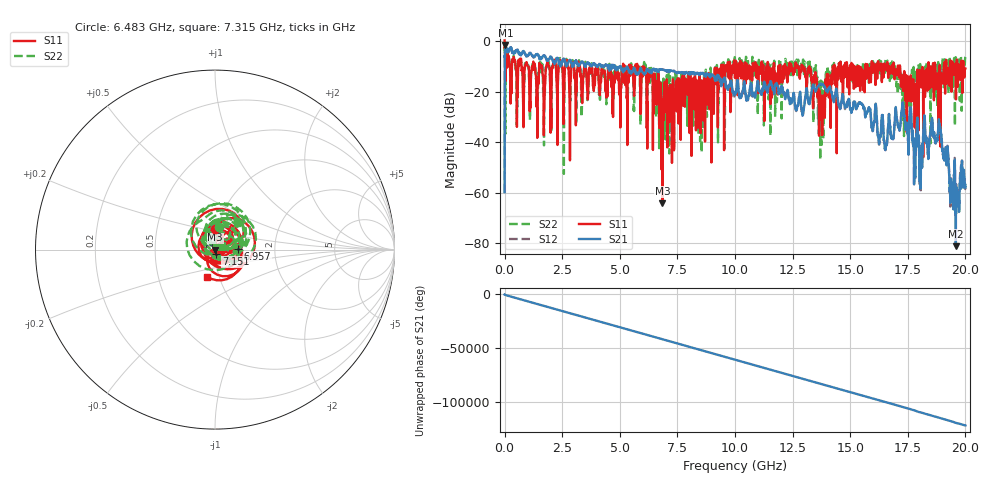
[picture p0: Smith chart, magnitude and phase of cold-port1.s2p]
! MS46122B
! 2250307/22442219
! 2/18/2026 9:14:54 AM
! C:\USERS\SPARKY\DOCUMENTS\VNA_DATA\FEB18_2026\COLD-PORT1.S2P
! CHANNEL.1
! TR.MEASUREMENT
! RAW.DATA
# GHZ S RI R 50.0
! FREQ.GHZ  S11RE  S11IM  S21RE  S21IM  S12RE  S12IM  S22RE  S22IM
!; PortSelection: Port_12
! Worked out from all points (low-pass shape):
!   10001 points, 1 MHz to 20 GHz, reference 50 ohm
!   highest |S21| = -1.33 dB at 33 MHz (marker M1); lowest = -81.2 dB at 19.59 GHz (marker M2)
!   |S21| within 3 dB of the highest: 131.2 MHz to 325.7 MHz (194.5 MHz wide, 85.2 % of centre); 464.3 MHz to 590.2 MHz (125.9 MHz wide, 23.9 % of centre) (the widest 2 of 7)
!   lowest |S11| = -64.2 dB at 6.849 GHz (marker M3), VSWR 1.00, Z = 50.1 + j0.0019 ohm
!   |S11| at or under -10 dB: 6.03 GHz to 9.391 GHz (3.361 GHz wide, 43.6 % of centre); 13.23 GHz to 14.25 GHz (1.014 GHz wide, 7.38 % of centre); 17.17 GHz to 18.38 GHz (1.213 GHz wide, 6.83 % of centre) (the widest 3 of 110)
!   |S22| runs from -52.5 to -0.2 dB; largest |S21 - S12| = 0.063
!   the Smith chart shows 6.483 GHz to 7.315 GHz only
!   S11 on the Smith chart (normalised r, x): 6.483 GHz: 0.97, +0.22; 6.957 GHz: 1.29, +0.02; 7.151 GHz: 1.01, -0.05; 7.315 GHz: 0.88, -0.27
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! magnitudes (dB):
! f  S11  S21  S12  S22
! 1 MHz  0.4  -59.8  -59.9  -0.2
! 33 MHz  -15.8  -1.3  -1.7  -17.7
! 127 MHz  -4.8  -4.4  -4.4  -4.8
! 3.335 GHz  -19.4  -8.1  -8.0  -29.4
! 5.765 GHz  -9.7  -13.0  -13.0  -9.1
! 6.483 GHz  -19.0  -10.8  -10.8  -17.8
! 6.669 GHz  -12.8  -12.1  -12.2  -11.9
! 6.849 GHz  -64.2  -11.1  -11.1  -19.2
! 6.957 GHz  -17.9  -11.6  -11.6  -18.7
! 7.151 GHz  -31.9  -11.5  -11.5  -44.5
! 7.315 GHz  -16.1  -11.8  -11.7  -14.3
! 8.511 GHz  -36.1  -12.6  -12.6  -22.2
! 10 GHz  -14.4  -21.0  -20.1  -6.9
! 13.33 GHz  -15.1  -19.0  -19.2  -18.3
! 13.8 GHz  -29.8  -17.2  -17.0  -16.8
! 14.54 GHz  -12.8  -26.1  -25.7  -11.9
! 16.67 GHz  -11.2  -30.6  -30.5  -11.1
! 17.29 GHz  -19.4  -25.1  -25.0  -19.9
! 18.06 GHz  -12.7  -57.6  -58.4  -11.1
! 18.88 GHz  -9.4  -33.6  -34.1  -13.2
! 19.59 GHz  -18.6  -81.2  -66.0  -6.3
! 20 GHz  -10.7  -56.9  -57.6  -6.1
